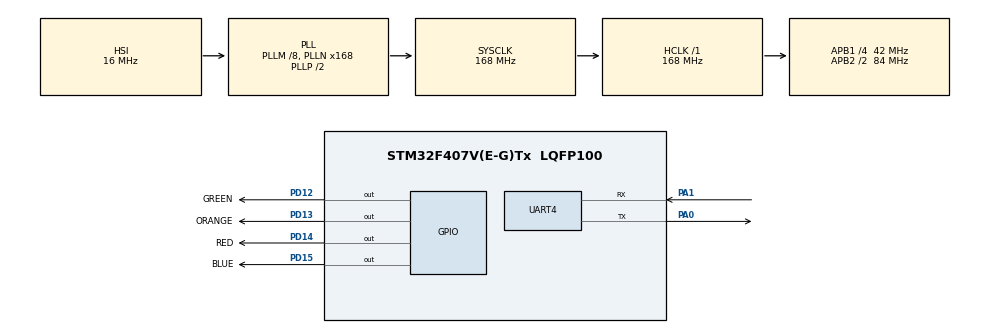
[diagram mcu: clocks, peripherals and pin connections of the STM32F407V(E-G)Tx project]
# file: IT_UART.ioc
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Mcu.Family=STM32F4
Mcu.Name=STM32F407V(E-G)Tx
Mcu.Package=LQFP100
NVIC.PriorityGroup=NVIC_PRIORITYGROUP_4
NVIC.UART4_IRQn=true\:0\:0\:false\:false\:true
PA0-WKUP.Mode=Asynchronous
PA0-WKUP.Signal=UART4_TX
PA1.Mode=Asynchronous
PA1.Signal=UART4_RX
PA13.Mode=Serial_Wire
PA13.Signal=SYS_JTMS-SWDIO
PA14.Mode=Serial_Wire
PA14.Signal=SYS_JTCK-SWCLK
PD12.GPIO_Label=GREEN
PD12.Signal=GPIO_Output
PD13.GPIO_Label=ORANGE
PD13.Signal=GPIO_Output
PD14.GPIO_Label=RED
PD14.Signal=GPIO_Output
PD15.GPIO_Label=BLUE
PD15.Signal=GPIO_Output
PH0-OSC_IN.Mode=HSE-External-Oscillator
PH0-OSC_IN.Signal=RCC_OSC_IN
PH1-OSC_OUT.Mode=HSE-External-Oscillator
PH1-OSC_OUT.Signal=RCC_OSC_OUT
ProjectManager.HeapSize=0x200
ProjectManager.StackSize=0x400
ProjectManager.TargetToolchain=SW4STM32
RCC.48MHZClocksFreq_Value=84000000
RCC.AHBFreq_Value=168000000
RCC.APB1CLKDivider=RCC_HCLK_DIV4
RCC.APB1Freq_Value=42000000
RCC.APB1TimFreq_Value=84000000
RCC.APB2CLKDivider=RCC_HCLK_DIV2
RCC.APB2Freq_Value=84000000
RCC.APB2TimFreq_Value=168000000
RCC.CortexFreq_Value=168000000
RCC.HCLKFreq_Value=168000000
RCC.HSE_VALUE=8000000
RCC.HSI_VALUE=16000000
RCC.LSE_VALUE=32768
RCC.PLLM=8
RCC.PLLN=168
RCC.SYSCLKFreq_VALUE=168000000
RCC.SYSCLKSource=RCC_SYSCLKSOURCE_PLLCLK
RCC.VCOOutputFreq_Value=336000000
UART4.VirtualMode=Asynchronous
board=IT_UART

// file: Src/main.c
/**
  ******************************************************************************
  * File Name          : main.c
  * Description        : Main program body
  ******************************************************************************
  ** This notice applies to any and all portions of this file
  * that are not between comment pairs USER CODE BEGIN and
  * USER CODE END. Other portions of this file, whether
  * inserted by the user or by software development tools
  * are owned by their respective copyright owners.
  *
  * COPYRIGHT(c) 2017 STMicroelectronics
  *
  * Redistribution and use in source and binary forms, with or without modification,
  * are permitted provided that the following conditions are met:
  *   1. Redistributions of source code must retain the above copyright notice,
  *      this list of conditions and the following disclaimer.
  *   2. Redistributions in binary form must reproduce the above copyright notice,
  *      this list of conditions and the following disclaimer in the documentation
  *      and/or other materials provided with the distribution.
  *   3. Neither the name of STMicroelectronics nor the names of its contributors
  *      may be used to endorse or promote products derived from this software
  *      without specific prior written permission.
  *
  * THIS SOFTWARE IS PROVIDED BY THE COPYRIGHT HOLDERS AND CONTRIBUTORS "AS IS"
  * AND ANY EXPRESS OR IMPLIED WARRANTIES, INCLUDING, BUT NOT LIMITED TO, THE
  * IMPLIED WARRANTIES OF MERCHANTABILITY AND FITNESS FOR A PARTICULAR PURPOSE ARE
  * DISCLAIMED. IN NO EVENT SHALL THE COPYRIGHT HOLDER OR CONTRIBUTORS BE LIABLE
  * FOR ANY DIRECT, INDIRECT, INCIDENTAL, SPECIAL, EXEMPLARY, OR CONSEQUENTIAL
  * DAMAGES (INCLUDING, BUT NOT LIMITED TO, PROCUREMENT OF SUBSTITUTE GOODS OR
  * SERVICES; LOSS OF USE, DATA, OR PROFITS; OR BUSINESS INTERRUPTION) HOWEVER
  * CAUSED AND ON ANY THEORY OF LIABILITY, WHETHER IN CONTRACT, STRICT LIABILITY,
  * OR TORT (INCLUDING NEGLIGENCE OR OTHERWISE) ARISING IN ANY WAY OUT OF THE USE
  * OF THIS SOFTWARE, EVEN IF ADVISED OF THE POSSIBILITY OF SUCH DAMAGE.
  *
  ******************************************************************************
  */
#include "main.h"
#include "stm32f4xx_hal.h"

/* USER CODE BEGIN Includes */
#include "ringbuffer.h"

/*
	TechMaker
	https://techmaker.ua
	Тема 10.
	UART IT. Ring buffer
	Плата STM32 F4 Discovery

	UART4 включен в режиме Asynchronous с выводами Tx  и Rx , конфигурация 115200. IRQ настроен на событие UART4_RX, размер данных Byte (8 bit).

	LCD		------> Arduino Connector

	+ добавить библиотеку ringbuffer.h
*/

/* USER CODE END Includes */

UART_HandleTypeDef huart4;

/* USER CODE BEGIN PV */
/* Private variables ---------------------------------------------------------*/
uint8_t rx_BYTE;
uint8_t i;
uint8_t *b;

/* Ringbuffer strut for Rx messages */
RingBuffer RingBuffer_UART ;
/* Array for DMA to save Rx bytes */
#define BUF_SIZE 256
uint8_t rx[BUF_SIZE];
uint32_t rx_count = 0;
/* Array for received commands */
char cmd[128];
uint8_t icmd = 0;

/* USER CODE END PV */

void SystemClock_Config(void);
static void MX_GPIO_Init(void);
static void MX_UART4_Init(void);

/* USER CODE BEGIN PFP */
/* Private function prototypes -----------------------------------------------*/

/* USER CODE END PFP */

int main(void)
{

  /* MCU Configuration----------------------------------------------------------*/

  /* Reset of all peripherals, Initializes the Flash interface and the Systick. */
  HAL_Init();

  /* Configure the system clock */
  SystemClock_Config();

  /* Initialize all configured peripherals */
  MX_GPIO_Init();
  MX_UART4_Init();

  /* USER CODE BEGIN 2 */
  RingBuffer_Init(&RingBuffer_UART, &rx,BUF_SIZE);
  HAL_UART_Receive_IT(&huart4, &rx_BYTE, 1);

  /* USER CODE END 2 */

  /* Infinite loop */
  /* USER CODE BEGIN WHILE */
  while (1)
  {
		/* Check number of bytes in RingBuffer */
		rx_count = RingBuffer_UART.tail-RingBuffer_UART.head;
		/* Process each byte individually */
		while (rx_count--) {
			/* Read out one byte from RingBuffer */
			b = RingBuffer_Get(&RingBuffer_UART);
			if (*b == '\r') {
				cmd[icmd++] = *b;
				/* Send recive messege */
				HAL_UART_Transmit(&huart4, (uint8_t*)cmd, icmd, 100);
				icmd = 0;
			}
			else { /* If regular character, put it into cmd[] */
				cmd[icmd++] = *b;
			}
		}

  /* USER CODE END WHILE */

  }

}

/** System Clock Configuration
*/
void SystemClock_Config(void)
{

  RCC_OscInitTypeDef RCC_OscInitStruct;
  RCC_ClkInitTypeDef RCC_ClkInitStruct;

    /**Configure the main internal regulator output voltage
    */
  __HAL_RCC_PWR_CLK_ENABLE();

  __HAL_PWR_VOLTAGESCALING_CONFIG(PWR_REGULATOR_VOLTAGE_SCALE1);

    /**Initializes the CPU, AHB and APB busses clocks
    */
  RCC_OscInitStruct.OscillatorType = RCC_OSCILLATORTYPE_HSI;
  RCC_OscInitStruct.HSIState = RCC_HSI_ON;
  RCC_OscInitStruct.HSICalibrationValue = 16;
  RCC_OscInitStruct.PLL.PLLState = RCC_PLL_ON;
  RCC_OscInitStruct.PLL.PLLSource = RCC_PLLSOURCE_HSI;
  RCC_OscInitStruct.PLL.PLLM = 8;
  RCC_OscInitStruct.PLL.PLLN = 168;
  RCC_OscInitStruct.PLL.PLLP = RCC_PLLP_DIV2;
  RCC_OscInitStruct.PLL.PLLQ = 4;
  if (HAL_RCC_OscConfig(&RCC_OscInitStruct) != HAL_OK)
  {
    _Error_Handler(__FILE__, __LINE__);
  }

    /**Initializes the CPU, AHB and APB busses clocks
    */
  RCC_ClkInitStruct.ClockType = RCC_CLOCKTYPE_HCLK|RCC_CLOCKTYPE_SYSCLK
                              |RCC_CLOCKTYPE_PCLK1|RCC_CLOCKTYPE_PCLK2;
  RCC_ClkInitStruct.SYSCLKSource = RCC_SYSCLKSOURCE_PLLCLK;
  RCC_ClkInitStruct.AHBCLKDivider = RCC_SYSCLK_DIV1;
  RCC_ClkInitStruct.APB1CLKDivider = RCC_HCLK_DIV4;
  RCC_ClkInitStruct.APB2CLKDivider = RCC_HCLK_DIV2;

  if (HAL_RCC_ClockConfig(&RCC_ClkInitStruct, FLASH_LATENCY_5) != HAL_OK)
  {
    _Error_Handler(__FILE__, __LINE__);
  }

    /**Configure the Systick interrupt time
    */
  HAL_SYSTICK_Config(HAL_RCC_GetHCLKFreq()/1000);

    /**Configure the Systick
    */
  HAL_SYSTICK_CLKSourceConfig(SYSTICK_CLKSOURCE_HCLK);

  /* SysTick_IRQn interrupt configuration */
  HAL_NVIC_SetPriority(SysTick_IRQn, 0, 0);
}

/* UART4 init function */
static void MX_UART4_Init(void)
{

  huart4.Instance = UART4;
  huart4.Init.BaudRate = 115200;
  huart4.Init.WordLength = UART_WORDLENGTH_8B;
  huart4.Init.StopBits = UART_STOPBITS_1;
  huart4.Init.Parity = UART_PARITY_NONE;
  huart4.Init.Mode = UART_MODE_TX_RX;
  huart4.Init.HwFlowCtl = UART_HWCONTROL_NONE;
  huart4.Init.OverSampling = UART_OVERSAMPLING_16;
  if (HAL_UART_Init(&huart4) != HAL_OK)
  {
    _Error_Handler(__FILE__, __LINE__);
  }

}

/** Configure pins as
        * Analog
        * Input
        * Output
        * EVENT_OUT
        * EXTI
*/
static void MX_GPIO_Init(void)
{

  GPIO_InitTypeDef GPIO_InitStruct;

  /* GPIO Ports Clock Enable */
  __HAL_RCC_GPIOH_CLK_ENABLE();
  __HAL_RCC_GPIOA_CLK_ENABLE();
  __HAL_RCC_GPIOD_CLK_ENABLE();

  /*Configure GPIO pin Output Level */
  HAL_GPIO_WritePin(GPIOD, GREEN_Pin|ORANGE_Pin|RED_Pin|BLUE_Pin, GPIO_PIN_RESET);

  /*Configure GPIO pins : GREEN_Pin ORANGE_Pin RED_Pin BLUE_Pin */
  GPIO_InitStruct.Pin = GREEN_Pin|ORANGE_Pin|RED_Pin|BLUE_Pin;
  GPIO_InitStruct.Mode = GPIO_MODE_OUTPUT_PP;
  GPIO_InitStruct.Pull = GPIO_NOPULL;
  GPIO_InitStruct.Speed = GPIO_SPEED_FREQ_LOW;
  HAL_GPIO_Init(GPIOD, &GPIO_InitStruct);

}

/* USER CODE BEGIN 4 */

void HAL_UART_RxCpltCallback(UART_HandleTypeDef *huart)
{
    if (huart->Instance == UART4)  //current UART
    {
    	RingBuffer_Put(&RingBuffer_UART,rx_BYTE);
    	HAL_UART_Receive_IT(&huart4, &rx_BYTE, 1);   //activate UART receive interrupt every time on receiving 1 byte
    }
}

/* USER CODE END 4 */

void _Error_Handler(char * file, int line)
{
  while(1)
  {
  }
}

/************************ (C) COPYRIGHT STMicroelectronics *****END OF FILE****/
